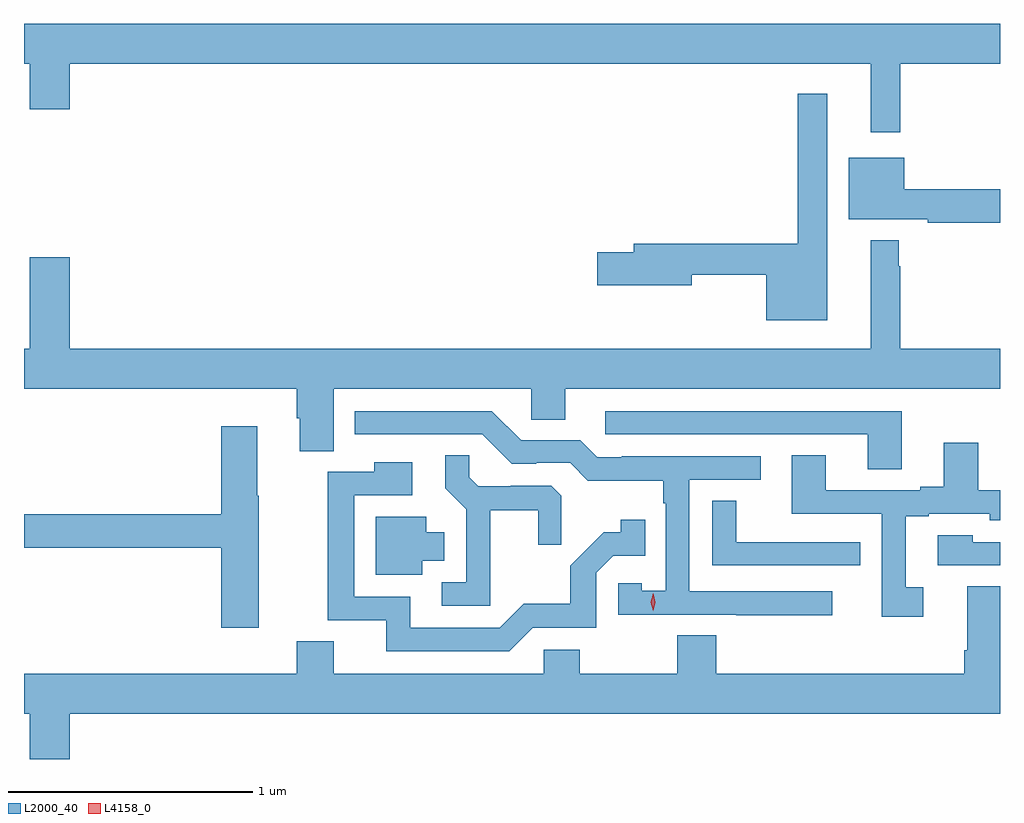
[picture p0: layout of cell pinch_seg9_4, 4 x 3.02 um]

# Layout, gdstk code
import gdstk
lib = gdstk.Library(unit=1e-6, precision=1e-09)
def P(c, l, *ps):  # polygons
    for p in ps: c.add(gdstk.Polygon(p, *l))
L2000_40 = (2000, 40)
L4158_0 = (4158, 0)

pinch_seg9_4 = lib.new_cell('pinch_seg9_4')
P(pinch_seg9_4, L2000_40, [(1055.689,1237.712),(1056.097,1237.712),(1056.097,1237.876),(1052.097,1237.876),(1052.097,1237.712),(1052.12,1237.712),(1052.12,1237.524),(1052.284,1237.524),(1052.284,1237.712),(1055.567,1237.712),(1055.567,1237.431),(1055.689,1237.431)],
  [(1055.389,1237.588),(1055.268,1237.588),(1055.268,1236.974),(1054.595,1236.974),(1054.595,1236.938),(1054.446,1236.938),(1054.446,1236.803),(1054.834,1236.803),(1054.834,1236.846),(1055.138,1236.846),(1055.138,1236.659),(1055.389,1236.659)],
  [(1056.097,1237.196),(1055.704,1237.196),(1055.704,1237.327),(1055.477,1237.327),(1055.477,1237.073),(1055.8,1237.073),(1055.8,1237.06),(1056.097,1237.06)],
  [(1053.367,1236.38),(1054.176,1236.38),(1054.176,1236.253),(1054.315,1236.253),(1054.315,1236.38),(1056.097,1236.38),(1056.097,1236.544),(1055.689,1236.544),(1055.689,1236.881),(1055.682,1236.881),(1055.682,1236.988),(1055.567,1236.988),(1055.567,1236.544),(1052.284,1236.544),(1052.284,1236.919),(1052.12,1236.919),(1052.12,1236.544),(1052.097,1236.544),(1052.097,1236.38),(1053.215,1236.38),(1053.215,1236.258),(1053.227,1236.258),(1053.227,1236.124),(1053.367,1236.124)],
  [(1055.41,1235.55),(1054.824,1235.55),(1054.824,1236.006),(1055.116,1236.006),(1055.116,1236.102),(1054.546,1236.102),(1054.546,1236.099),(1054.446,1236.099),(1054.377,1236.168),(1054.134,1236.168),(1054.014,1236.288),(1053.452,1236.288),(1053.452,1236.192),(1053.975,1236.192),(1054.095,1236.072),(1054.196,1236.072),(1054.196,1236.075),(1054.335,1236.075),(1054.408,1236.002),(1054.716,1236.002),(1054.716,1235.909),(1054.728,1235.909),(1054.728,1235.551),(1054.629,1235.551),(1054.629,1235.583),(1054.533,1235.583),(1054.533,1235.454),(1055.017,1235.454),(1055.017,1235.452),(1055.41,1235.452)],
  [(1055.695,1236.288),(1054.479,1236.288),(1054.479,1236.192),(1055.555,1236.192),(1055.555,1236.049),(1055.695,1236.049)],
  [(1053.06,1235.941),(1053.052,1235.941),(1053.052,1236.226),(1052.906,1236.226),(1052.906,1235.864),(1052.097,1235.864),(1052.097,1235.728),(1052.906,1235.728),(1052.906,1235.4),(1053.06,1235.4)],
  [(1055.782,1235.565),(1055.71,1235.565),(1055.71,1235.856),(1055.806,1235.856),(1055.806,1235.868),(1056.054,1235.868),(1056.054,1235.841),(1056.097,1235.841),(1056.097,1235.964),(1056.007,1235.964),(1056.007,1236.157),(1055.867,1236.157),(1055.867,1235.977),(1055.771,1235.977),(1055.771,1235.964),(1055.383,1235.964),(1055.383,1236.107),(1055.243,1236.107),(1055.243,1235.868),(1055.613,1235.868),(1055.613,1235.445),(1055.782,1235.445)],
  [(1054.007,1235.882),(1054.204,1235.882),(1054.204,1235.739),(1054.298,1235.739),(1054.298,1235.941),(1054.257,1235.982),(1054.092,1235.982),(1054.092,1235.979),(1053.958,1235.979),(1053.921,1236.016),(1053.921,1236.107),(1053.823,1236.107),(1053.823,1235.971),(1053.909,1235.885),(1053.909,1235.586),(1053.81,1235.586),(1053.81,1235.49),(1054.007,1235.49)],
  [(1054.182,1235.4),(1054.443,1235.4),(1054.443,1235.625),(1054.512,1235.694),(1054.643,1235.694),(1054.643,1235.842),(1054.542,1235.842),(1054.542,1235.792),(1054.472,1235.792),(1054.335,1235.654),(1054.335,1235.499),(1054.146,1235.499),(1054.047,1235.4),(1053.679,1235.4),(1053.679,1235.526),(1053.45,1235.526),(1053.45,1235.943),(1053.688,1235.943),(1053.688,1236.079),(1053.532,1236.079),(1053.532,1236.039),(1053.342,1236.039),(1053.342,1235.43),(1053.581,1235.43),(1053.581,1235.304),(1054.086,1235.304)],
  [(1055.524,1235.75),(1055.411,1235.75),(1055.411,1235.751),(1055.016,1235.751),(1055.016,1235.921),(1054.917,1235.921),(1054.917,1235.655),(1055.524,1235.655)],
  [(1053.73,1235.675),(1053.82,1235.675),(1053.82,1235.791),(1053.745,1235.791),(1053.745,1235.854),(1053.539,1235.854),(1053.539,1235.618),(1053.73,1235.618)],
  [(1056.097,1235.751),(1055.985,1235.751),(1055.985,1235.779),(1055.841,1235.779),(1055.841,1235.655),(1056.097,1235.655)],
  [(1052.284,1235.048),(1056.097,1235.048),(1056.097,1235.569),(1055.963,1235.569),(1055.963,1235.308),(1055.951,1235.308),(1055.951,1235.212),(1054.934,1235.212),(1054.934,1235.369),(1054.774,1235.369),(1054.774,1235.212),(1054.374,1235.212),(1054.374,1235.31),(1054.227,1235.31),(1054.227,1235.212),(1053.367,1235.212),(1053.367,1235.345),(1053.215,1235.345),(1053.215,1235.212),(1052.097,1235.212),(1052.097,1235.048),(1052.12,1235.048),(1052.12,1234.86),(1052.284,1234.86)])
P(pinch_seg9_4, L4158_0, [(1054.675,1235.469),(1054.675,1235.469),(1054.665,1235.505),(1054.676,1235.541),(1054.676,1235.541),(1054.676,1235.541),(1054.685,1235.505),(1054.675,1235.469)])

lib.write_gds('pinch_seg9_4.gds')
